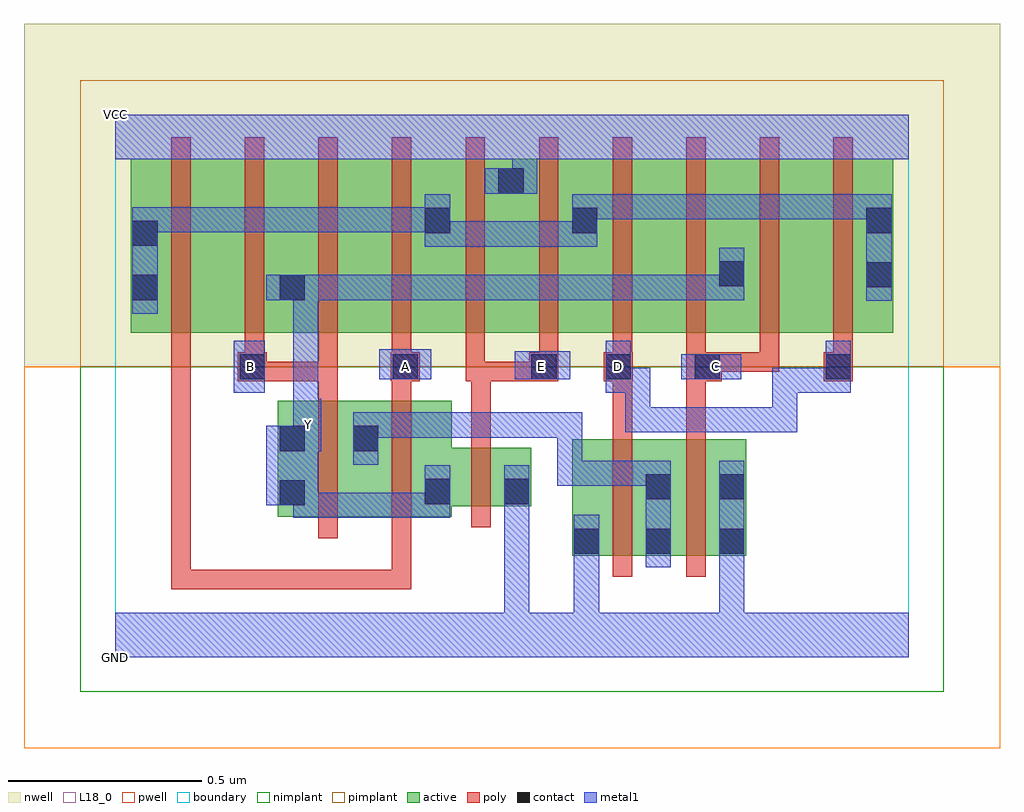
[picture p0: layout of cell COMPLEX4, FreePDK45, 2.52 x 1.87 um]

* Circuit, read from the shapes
.subckt COMPLEX4 A B C D E GND VCC Y
M1 n1 B Y VSUBS nfet w=0.3u l=0.05u
M2 Y A n1 VSUBS nfet w=0.3u l=0.05u
M3 GND E Y VSUBS nfet w=0.15u l=0.05u
M4 n1 D GND VSUBS nfet w=0.3u l=0.05u
M5 GND C n1 VSUBS nfet w=0.3u l=0.05u
M6 n2 A n3 n4 pfet w=0.45u l=0.05u
M7 Y B n2 n4 pfet w=0.45u l=0.05u
M8 n5 B Y n4 pfet w=0.45u l=0.05u
M9 n3 A n5 n4 pfet w=0.45u l=0.05u
M10 VCC E n3 n4 pfet w=0.45u l=0.05u m=2
M11 n6 D n3 n4 pfet w=0.45u l=0.05u
M12 Y C n6 n4 pfet w=0.45u l=0.05u
M13 n7 C Y n4 pfet w=0.45u l=0.05u
M14 n3 D n7 n4 pfet w=0.45u l=0.05u
.ends

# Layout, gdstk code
import gdstk
lib = gdstk.Library(unit=1e-6, precision=1e-09)
def R(c, l, rs):  # rectangles x0, y0, x1, y1
    for r in rs: c.add(gdstk.rectangle(r[:2], r[2:], *l))
def A(c, l, x, y, w, h, nx, ny, dx, dy):  # array of equal rectangles
    R(c, l, [(x+i*dx, y+j*dy, x+i*dx+w, y+j*dy+h) for i in range(nx) for j in range(ny)])
active = (1, 0)
pwell = (2, 0)
nwell = (3, 0)
nimplant = (4, 0)
pimplant = (5, 0)
poly = (9, 0)
contact = (10, 0)
metal1 = (11, 0)
L18_0 = (18, 0)
boundary = (235, 0)

complex4 = lib.new_cell('COMPLEX4')
R(complex4, active, [(1.18,0.262,1.255,0.547), (1.18,0.262,1.44,0.562), (1.365,0.262,1.44,0.547), (1.365,0.262,1.63,0.562), (1.555,0.262,1.63,0.547), (0.42,0.362,0.685,0.662), (0.42,0.362,0.495,0.662), (0.61,0.362,0.87,0.662), (0.61,0.382,0.685,0.602), (0.795,0.39,0.87,0.465), (0.795,0.39,1.075,0.54), (1,0.39,1.075,0.465), (0.04,0.837,0.265,1.287), (0.04,0.837,0.145,1.2), (0.265,0.837,0.495,1.287), (0.42,0.837,0.645,1.287), (0.42,0.837,0.495,1.07), (0.645,0.837,0.87,1.287), (0.795,0.837,0.87,1.2), (0.795,0.837,1.06,1.287), (0.985,0.837,1.25,1.287), (0.985,0.837,1.06,1.287), (1.175,0.837,1.25,1.2), (1.175,0.837,1.405,1.287), (1.405,0.837,1.63,1.287), (1.555,0.837,1.785,1.287), (1.555,0.837,1.63,1.07), (1.785,0.837,2.01,1.287), (1.935,0.837,2.01,1.2)])
R(complex4, pwell, [(-0.235,-0.235,2.285,0.75)])
R(complex4, nwell, [(-0.235,0.75,2.285,1.635)])
R(complex4, nimplant, [(-0.09,-0.09,2.14,0.75)])
R(complex4, pimplant, [(-0.09,0.75,2.14,1.49)])
A(complex4, poly, 0.335, 0.737, 0.05, 0.095, 3, 1, 0.38, 0)
A(complex4, poly, 1.285, 0.737, 0.05, 0.095, 4, 1, 0.19, 0)
A(complex4, poly, 0.145, 0.782, 0.05, 0.56, 10, 1, 0.19, 0)
R(complex4, poly, [(0.145,0.175,0.195,0.225), (0.145,0.175,0.195,0.225), (0.145,0.175,0.195,0.225), (0.145,0.175,0.195,0.225), (0.145,0.175,0.195,0.225), (0.145,0.175,0.195,0.225), (0.145,0.175,0.195,0.225), (0.145,0.175,0.195,0.225), (0.145,0.175,0.195,0.225), (0.145,0.175,0.195,0.225), (0.145,0.175,0.195,0.225), (0.145,0.175,0.327,0.225), (0.145,0.175,0.195,0.832), (0.277,0.175,0.327,0.225), (0.277,0.175,0.63,0.225), (0.58,0.175,0.63,0.225), (0.58,0.175,0.63,0.225), (0.58,0.175,0.63,0.225), (0.58,0.175,0.765,0.225), (0.715,0.175,0.765,0.225), (0.715,0.175,0.765,0.225), (0.715,0.175,0.765,0.225), (0.715,0.175,0.765,0.357), (1.285,0.207,1.335,0.617), (1.475,0.207,1.525,0.617), (0.525,0.307,0.575,0.717), (0.715,0.307,0.765,0.717), (0.92,0.335,0.97,0.595), (0.92,0.545,0.97,0.762), (1.285,0.567,1.335,0.762), (1.475,0.567,1.525,0.762), (0.525,0.667,0.575,0.762), (0.715,0.667,0.765,0.762), (0.317,0.712,0.392,0.787), (0.342,0.712,0.575,0.762), (0.525,0.712,0.575,0.762), (0.525,0.712,0.575,0.762), (0.525,0.712,0.575,0.762), (0.525,0.712,0.575,0.832), (0.712,0.712,0.787,0.787), (0.905,0.712,0.955,0.832), (0.905,0.712,0.97,0.762), (0.92,0.712,1.12,0.762), (1.07,0.712,1.145,0.787), (1.07,0.712,1.12,0.762), (1.07,0.712,1.12,0.762), (1.262,0.712,1.337,0.787), (1.475,0.712,1.567,0.787), (1.83,0.712,1.905,0.787), (1.517,0.737,1.715,0.787), (1.517,0.737,1.567,0.787), (1.517,0.737,1.567,0.787), (1.665,0.737,1.715,0.787)])
R(complex4, contact, [(1.185,0.267,1.25,0.332), (1.37,0.267,1.435,0.332), (1.56,0.267,1.625,0.332), (0.425,0.392,0.49,0.457), (0.8,0.395,0.865,0.46), (1.005,0.395,1.07,0.46), (1.37,0.407,1.435,0.472), (1.56,0.407,1.625,0.472), (0.425,0.532,0.49,0.597), (0.615,0.532,0.68,0.597), (0.322,0.717,0.387,0.782), (0.717,0.717,0.782,0.782), (1.075,0.717,1.14,0.782), (1.267,0.717,1.332,0.782), (1.497,0.717,1.562,0.782), (1.835,0.717,1.9,0.782), (0.045,0.922,0.11,0.987), (0.425,0.922,0.49,0.987), (1.94,0.955,2.005,1.02), (1.56,0.957,1.625,1.022), (0.045,1.062,0.11,1.127), (0.8,1.095,0.865,1.16), (1.18,1.095,1.245,1.16), (1.94,1.095,2.005,1.16), (0.99,1.197,1.055,1.262)])
R(complex4, metal1, [(0,0,2.05,0.115), (1.005,0.05,1.07,0.115), (1.005,0.05,1.07,0.115), (1.005,0.05,1.07,0.115), (1.005,0.05,1.07,0.115), (1.005,0.05,1.07,0.31), (1.185,0.05,1.25,0.297), (1.56,0.05,1.625,0.115), (1.56,0.05,1.625,0.115), (1.56,0.05,1.625,0.115), (1.56,0.05,1.625,0.115), (1.56,0.05,1.625,0.297), (1.185,0.232,1.25,0.297), (1.185,0.232,1.25,0.297), (1.185,0.232,1.25,0.297), (1.185,0.232,1.25,0.297), (1.185,0.232,1.25,0.367), (1.37,0.232,1.435,0.507), (1.56,0.232,1.625,0.507), (1.005,0.245,1.07,0.31), (1.005,0.245,1.07,0.425), (0.46,0.36,0.525,0.425), (0.46,0.36,0.525,0.425), (0.46,0.36,0.525,0.425), (0.46,0.36,0.68,0.425), (0.46,0.36,0.525,0.457), (0.615,0.36,0.68,0.425), (0.615,0.36,0.68,0.425), (0.615,0.36,0.68,0.425), (0.615,0.36,0.865,0.425), (0.8,0.36,0.865,0.495), (1.005,0.36,1.07,0.495), (0.39,0.392,0.525,0.597), (1.142,0.442,1.207,0.507), (1.142,0.442,1.207,0.507), (1.142,0.442,1.435,0.507), (1.142,0.442,1.207,0.632), (0.615,0.497,0.68,0.632), (0.46,0.532,0.525,0.597), (0.46,0.532,0.532,0.667), (0.615,0.567,0.68,0.632), (0.615,0.567,0.68,0.632), (0.615,0.567,0.865,0.632), (0.8,0.567,0.865,0.632), (0.8,0.567,0.865,0.632), (0.8,0.567,0.865,0.632), (0.8,0.567,1.002,0.632), (0.937,0.567,1.002,0.632), (0.937,0.567,1.002,0.632), (0.937,0.567,1.002,0.632), (0.937,0.567,1.207,0.632), (1.142,0.567,1.207,0.632), (1.142,0.567,1.207,0.632), (1.317,0.58,1.382,0.645), (1.317,0.58,1.382,0.747), (1.317,0.58,1.537,0.645), (1.472,0.58,1.537,0.645), (1.472,0.58,1.537,0.645), (1.472,0.58,1.537,0.645), (1.472,0.58,1.762,0.645), (1.697,0.58,1.762,0.645), (1.697,0.58,1.762,0.645), (1.697,0.58,1.762,0.645), (1.697,0.58,1.762,0.747), (0.46,0.602,0.525,0.987), (0.307,0.682,0.387,0.817), (1.267,0.682,1.332,0.817), (1.267,0.682,1.382,0.747), (1.317,0.682,1.382,0.747), (1.697,0.682,1.762,0.747), (1.697,0.682,1.9,0.747), (1.835,0.682,1.9,0.817), (0.682,0.717,0.817,0.795), (1.032,0.717,1.175,0.79), (1.462,0.717,1.617,0.782), (0.045,0.887,0.11,1.162), (1.94,0.92,2.005,1.195), (0.39,0.922,0.525,0.987), (0.46,0.922,0.525,0.987), (0.46,0.922,0.525,0.987), (0.46,0.922,0.68,0.987), (0.615,0.922,0.68,0.987), (0.615,0.922,0.68,0.987), (0.615,0.922,0.68,0.987), (0.615,0.922,0.865,0.987), (0.8,0.922,0.865,0.987), (0.8,0.922,0.865,0.987), (0.8,0.922,0.865,0.987), (0.8,0.922,1.002,0.987), (0.937,0.922,1.002,0.987), (0.937,0.922,1.002,0.987), (0.937,0.922,1.002,0.987), (0.937,0.922,1.207,0.987), (1.142,0.922,1.207,0.987), (1.142,0.922,1.207,0.987), (1.142,0.922,1.207,0.987), (1.142,0.922,1.4,0.987), (1.335,0.922,1.4,0.987), (1.335,0.922,1.625,0.987), (1.56,0.922,1.625,0.987), (1.56,0.922,1.625,0.987), (1.56,0.922,1.625,1.057), (0.8,1.06,0.865,1.125), (0.8,1.06,0.865,1.125), (0.8,1.06,0.865,1.195), (0.8,1.06,1.002,1.125), (0.937,1.06,1.002,1.125), (0.937,1.06,1.002,1.125), (0.937,1.06,1.002,1.125), (0.937,1.06,1.245,1.125), (1.18,1.06,1.245,1.195), (0.045,1.097,0.11,1.162), (0.045,1.097,0.11,1.162), (0.045,1.097,0.317,1.162), (0.252,1.097,0.317,1.162), (0.252,1.097,0.317,1.162), (0.252,1.097,0.317,1.162), (0.252,1.097,0.317,1.162), (0.252,1.097,0.317,1.162), (0.252,1.097,0.542,1.162), (0.477,1.097,0.542,1.162), (0.477,1.097,0.542,1.162), (0.477,1.097,0.542,1.162), (0.477,1.097,0.727,1.162), (0.662,1.097,0.727,1.162), (0.662,1.097,0.727,1.162), (0.662,1.097,0.727,1.162), (0.662,1.097,0.865,1.162), (1.18,1.13,1.245,1.195), (1.18,1.13,1.245,1.195), (1.18,1.13,1.382,1.195), (1.317,1.13,1.382,1.195), (1.317,1.13,1.537,1.195), (1.472,1.13,1.537,1.195), (1.472,1.13,1.537,1.195), (1.472,1.13,1.537,1.195), (1.472,1.13,1.762,1.195), (1.697,1.13,1.762,1.195), (1.697,1.13,1.762,1.195), (1.697,1.13,1.762,1.195), (1.697,1.13,1.762,1.195), (1.697,1.13,1.762,1.195), (1.697,1.13,2.005,1.195), (1.94,1.13,2.005,1.195), (1.94,1.13,2.005,1.195), (0.955,1.197,1.09,1.262), (1.025,1.197,1.09,1.35), (0,1.285,2.05,1.4)])
R(complex4, L18_0, [(0,0,2.05,0.115), (1.005,0.05,1.07,0.115), (1.005,0.05,1.07,0.115), (1.005,0.05,1.07,0.115), (1.005,0.05,1.07,0.115), (1.005,0.05,1.07,0.31), (1.185,0.05,1.25,0.297), (1.56,0.05,1.625,0.115), (1.56,0.05,1.625,0.115), (1.56,0.05,1.625,0.115), (1.56,0.05,1.625,0.115), (1.56,0.05,1.625,0.297), (1.185,0.232,1.25,0.297), (1.185,0.232,1.25,0.297), (1.185,0.232,1.25,0.297), (1.185,0.232,1.25,0.297), (1.185,0.232,1.25,0.367), (1.56,0.232,1.625,0.507), (1.005,0.245,1.07,0.31), (1.005,0.245,1.07,0.425), (0.46,0.36,0.525,0.425), (0.46,0.36,0.525,0.425), (0.46,0.36,0.525,0.425), (0.46,0.36,0.525,0.457), (0.46,0.36,0.68,0.425), (0.615,0.36,0.68,0.425), (0.615,0.36,0.68,0.425), (0.615,0.36,0.68,0.425), (0.615,0.36,0.865,0.425), (0.8,0.36,0.865,0.495), (1.005,0.36,1.07,0.495), (0.39,0.392,0.525,0.597), (0.46,0.532,0.525,0.597), (0.46,0.532,0.532,0.667), (0.467,0.567,0.532,0.632), (1.317,0.58,1.382,0.645), (1.317,0.58,1.537,0.645), (1.317,0.58,1.382,0.747), (1.472,0.58,1.537,0.645), (1.472,0.58,1.537,0.645), (1.472,0.58,1.537,0.645), (1.472,0.58,1.762,0.645), (1.697,0.58,1.762,0.645), (1.697,0.58,1.762,0.645), (1.697,0.58,1.762,0.645), (1.697,0.58,1.762,0.747), (0.46,0.602,0.525,0.987), (0.307,0.682,0.387,0.817), (1.267,0.682,1.332,0.817), (1.267,0.682,1.382,0.747), (1.317,0.682,1.382,0.747), (1.697,0.682,1.762,0.747), (1.697,0.682,1.9,0.747), (1.835,0.682,1.9,0.817), (0.317,0.717,0.382,0.782), (0.682,0.717,0.817,0.795), (0.717,0.717,0.782,0.782), (1.032,0.717,1.175,0.79), (1.067,0.717,1.132,0.782), (1.267,0.717,1.332,0.782), (1.462,0.717,1.617,0.782), (1.517,0.717,1.582,0.782), (0.39,0.922,0.525,0.987), (0.46,0.922,0.525,0.987), (0.46,0.922,0.525,0.987), (0.46,0.922,0.68,0.987), (0.615,0.922,0.68,0.987), (0.615,0.922,0.68,0.987), (0.615,0.922,0.68,0.987), (0.615,0.922,0.865,0.987), (0.8,0.922,0.865,0.987), (0.8,0.922,0.865,0.987), (0.8,0.922,0.865,0.987), (0.8,0.922,1.002,0.987), (0.937,0.922,1.002,0.987), (0.937,0.922,1.002,0.987), (0.937,0.922,1.002,0.987), (0.937,0.922,1.207,0.987), (1.142,0.922,1.207,0.987), (1.142,0.922,1.207,0.987), (1.142,0.922,1.207,0.987), (1.142,0.922,1.4,0.987), (1.335,0.922,1.4,0.987), (1.335,0.922,1.625,0.987), (1.56,0.922,1.625,0.987), (1.56,0.922,1.625,0.987), (1.56,0.922,1.625,1.057), (0.955,1.197,1.09,1.262), (1.025,1.197,1.09,1.35), (0,1.285,2.05,1.4)])
R(complex4, boundary, [(0,0,2.05,1.4)])
complex4.add(gdstk.Label('A', (0.75,0.75), layer=11, texttype=0))
complex4.add(gdstk.Label('B', (0.35,0.75), layer=11, texttype=0))
complex4.add(gdstk.Label('C', (1.55,0.75), layer=11, texttype=0))
complex4.add(gdstk.Label('D', (1.3,0.75), layer=11, texttype=0))
complex4.add(gdstk.Label('E', (1.1,0.75), layer=11, texttype=0))
complex4.add(gdstk.Label('Y', (0.5,0.6), layer=11, texttype=0))
complex4.add(gdstk.Label('VCC', (0,1.4), layer=11, texttype=0))
complex4.add(gdstk.Label('GND', (0,0), layer=11, texttype=0))

lib.write_gds('COMPLEX4.gds')
